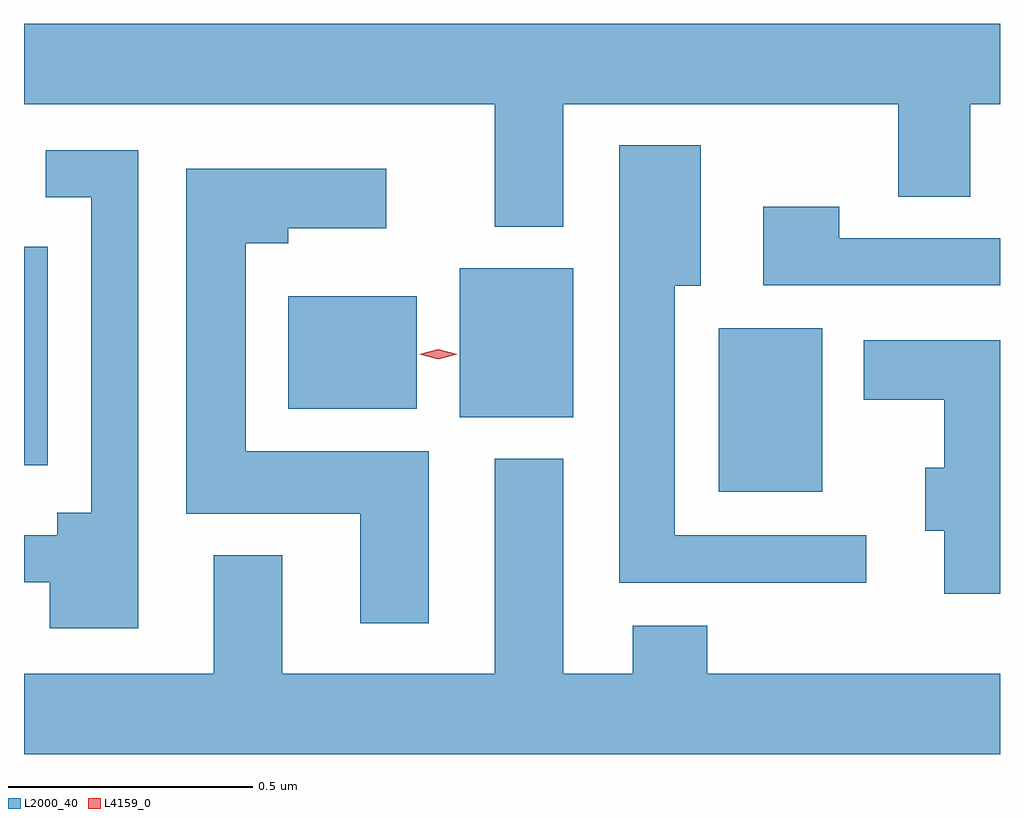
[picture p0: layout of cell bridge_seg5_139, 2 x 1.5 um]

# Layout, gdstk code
import gdstk
lib = gdstk.Library(unit=1e-6, precision=1e-09)
def R(c, l, rs):  # rectangles x0, y0, x1, y1
    for r in rs: c.add(gdstk.rectangle(r[:2], r[2:], *l))
def P(c, l, *ps):  # polygons
    for p in ps: c.add(gdstk.Polygon(p, *l))
L2000_40 = (2000, 40)
L4159_0 = (4159, 0)

bridge_seg5_139 = lib.new_cell('bridge_seg5_139')
R(bridge_seg5_139, L2000_40, [(315.638,893.261,315.85,893.596), (314.214,893.316,314.263,893.764), (315.107,893.414,315.34,893.719), (314.756,893.432,315.019,893.662)])
P(bridge_seg5_139, L2000_40, [(315.319,894.056),(316.006,894.056),(316.006,893.866),(316.153,893.866),(316.153,894.056),(316.214,894.056),(316.214,894.22),(314.214,894.22),(314.214,894.056),(315.179,894.056),(315.179,893.804),(315.319,893.804)],
  [(315.94,893.172),(315.547,893.172),(315.547,893.684),(315.601,893.684),(315.601,893.971),(315.434,893.971),(315.434,893.075),(315.94,893.075)],
  [(314.448,893.961),(314.259,893.961),(314.259,893.865),(314.352,893.865),(314.352,893.218),(314.282,893.218),(314.282,893.172),(314.214,893.172),(314.214,893.076),(314.267,893.076),(314.267,892.982),(314.448,892.982)],
  [(315.043,893.344),(314.668,893.344),(314.668,893.771),(314.755,893.771),(314.755,893.801),(314.956,893.801),(314.956,893.923),(314.546,893.923),(314.546,893.216),(314.903,893.216),(314.903,892.992),(315.043,892.992)],
  [(316.214,893.781),(315.885,893.781),(315.885,893.845),(315.729,893.845),(315.729,893.685),(316.214,893.685)],
  [(316.214,893.572),(315.935,893.572),(315.935,893.45),(316.1,893.45),(316.1,893.311),(316.061,893.311),(316.061,893.182),(316.1,893.182),(316.1,893.052),(316.214,893.052)],
  [(316.214,892.888),(315.614,892.888),(315.614,892.987),(315.461,892.987),(315.461,892.888),(315.319,892.888),(315.319,893.329),(315.179,893.329),(315.179,892.888),(314.743,892.888),(314.743,893.131),(314.603,893.131),(314.603,892.888),(314.214,892.888),(314.214,892.724),(316.214,892.724)])
P(bridge_seg5_139, L4159_0, [(315.063,893.533),(315.024,893.543),(315.023,893.543),(315.024,893.543),(315.063,893.553),(315.102,893.543),(315.102,893.543),(315.102,893.543)])

lib.write_gds('bridge_seg5_139.gds')
